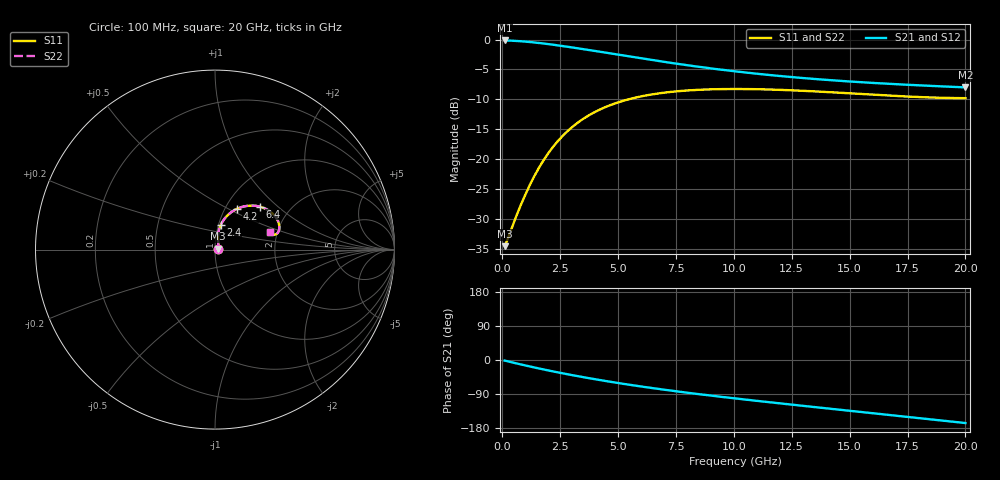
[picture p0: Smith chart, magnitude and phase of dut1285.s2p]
! Touchstone file exported from HFSS 2024.1.0
!  File:  C:/UserFiles/LocalFiles/RDL_TSV_Batchsim/temp_RDL_TSV_1285_1780278403.aedt
!  Generated:  10:03:29 AM Jun  1, 2026
!  Design:  RDL_TSV
!  Project:  temp_RDL_TSV_1285_1780278403
!  Setup:  Setup1
!  Solution:  Sweep
! Variables:
!  dtsv = 8.65um
!  hbump = 3um
!  htsv = 61.12um
!  ldown = 658.37um
!  lrdl = 104.32um
!  p = 40
!  p1 = 54.05um
!  rhole = 10um
!  subl = 2392.39um
!  t = 450um
!  tdown = 3.03um
!  trdl = 2.72um
!  viad = 10um
!  wdown = 18.96um
!  wrdl = 10.11um
!  xbump = 18um
# GHz S MA R 50.000000
! Terminal data exported
! Port[1] = TM1_1_T1
! Port[2] = TM1_4_T1
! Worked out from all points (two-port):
!   200 points, 100 MHz to 20 GHz, reference 50 ohm
!   highest |S21| = -0.16 dB at 100 MHz (marker M1); lowest = -8.0 dB at 20 GHz (marker M2)
!   |S21| within 3 dB of the highest: start of sweep to 6.008 GHz
!   lowest |S11| = -34.6 dB at 100 MHz (marker M3), VSWR 1.04, Z = 51.8 + j0.503 ohm
!   |S11| at or under -10 dB: start of sweep to 5.469 GHz
!   |S22| runs from -34.6 to -8.3 dB; largest |S21 - S12| = 1.4e-14
!   S11 on the Smith chart (normalised r, x): 100 MHz: 1.04, +0.01; 2.4 GHz: 1.03, +0.29; 4.2 GHz: 1.14, +0.55; 6.4 GHz: 1.42, +0.77; 20 GHz: 1.83, +0.40
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0.1  0.01861 15.1  0.9818 -1.5  0.9818 -1.5  0.01861 15.1
! Gamma 0 0 0 0
! Port Impedance 50 0 50 0
0.2  0.02053 27.8  0.9808 -3.0  0.9808 -3.0  0.02053 27.8
0.5  0.02951 51.6  0.9753 -7.4  0.9753 -7.4  0.02951 51.6
0.8  0.04116 65.0  0.9671 -11.7  0.9671 -11.7  0.04115 65.0
1.3  0.06681 76.0  0.9483 -18.6  0.9483 -18.6  0.06678 76.0
1.8  0.09877 78.8  0.9247 -25.2  0.9247 -25.2  0.09871 78.8
2.1  0.1197 78.3  0.9091 -29.0  0.9091 -29.0  0.1196 78.3
2.4  0.1411 76.8  0.8928 -32.7  0.8928 -32.7  0.1411 76.9
2.9  0.1767 73.2  0.8647 -38.6  0.8647 -38.6  0.1766 73.2
3.5  0.2169 68.0  0.8304 -45.4  0.8304 -45.4  0.2168 68.0
4.2  0.2584 61.6  0.7906 -52.8  0.7906 -52.8  0.2583 61.6
5.2  0.3058 52.9  0.7361 -62.6  0.7361 -62.6  0.3058 53.0
6.4  0.3454 43.9  0.6763 -73.4  0.6763 -73.4  0.3454 43.9
6.8  0.3549 41.2  0.6581 -76.8  0.6581 -76.8  0.355 41.2
8.4  0.3785 32.0  0.5938 -89.5  0.5938 -89.5  0.3787 32.1
10.1  0.3852 24.7  0.54 -101.7  0.54 -101.7  0.3855 24.7
11.7  0.3805 19.6  0.5008 -112.5  0.5008 -112.5  0.3809 19.7
13.4  0.3687 16.1  0.4686 -123.7  0.4686 -123.7  0.3692 16.1
15  0.3544 14.3  0.4452 -133.9  0.4452 -133.9  0.3549 14.3
16.7  0.3392 14.1  0.4256 -144.9  0.4256 -144.9  0.3399 14.1
18.4  0.3275 15.4  0.4098 -155.9  0.4098 -155.9  0.3283 15.4
20  0.3228 17.9  0.3972 -166.4  0.3972 -166.4  0.3235 17.8
